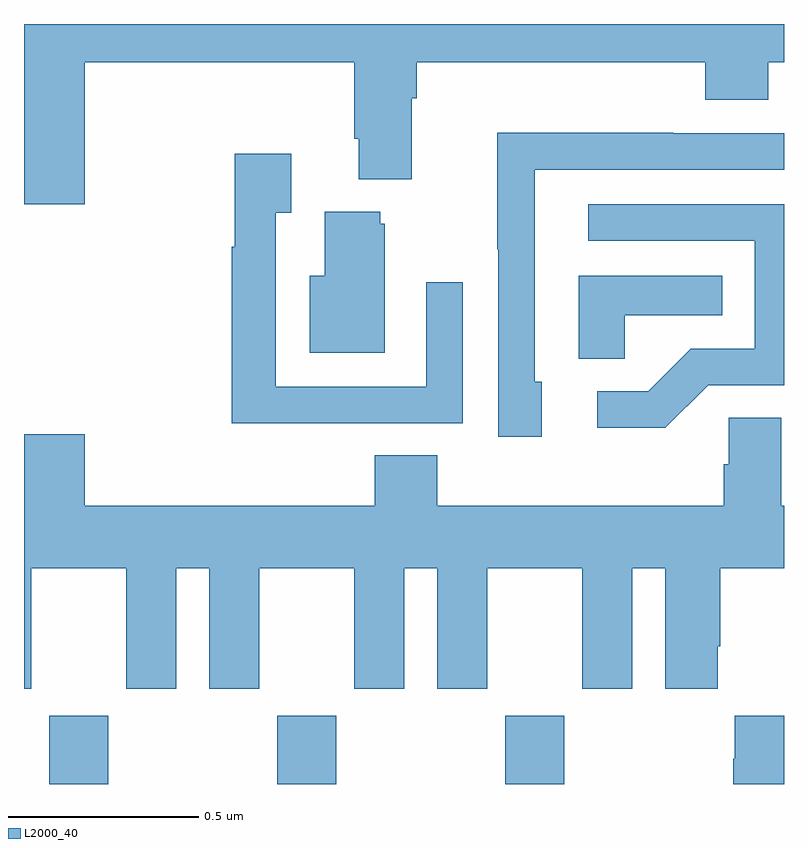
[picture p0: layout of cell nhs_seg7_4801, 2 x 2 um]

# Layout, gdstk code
import gdstk
lib = gdstk.Library(unit=1e-6, precision=1e-09)
def R(c, l, rs):  # rectangles x0, y0, x1, y1
    for r in rs: c.add(gdstk.rectangle(r[:2], r[2:], *l))
def A(c, l, x, y, w, h, nx, ny, dx, dy):  # array of equal rectangles
    R(c, l, [(x+i*dx, y+j*dy, x+i*dx+w, y+j*dy+h) for i in range(nx) for j in range(ny)])
def P(c, l, *ps):  # polygons
    for p in ps: c.add(gdstk.Polygon(p, *l))
L2000_40 = (2000, 40)

nhs_seg7_4801 = lib.new_cell('nhs_seg7_4801')
A(nhs_seg7_4801, L2000_40, 177.067, 1048, 0.155, 0.18, 3, 1, 0.6, 0)
P(nhs_seg7_4801, L2000_40, [(177.16,1049.9),(177.869,1049.9),(177.869,1049.698),(177.881,1049.698),(177.881,1049.591),(178.021,1049.591),(178.021,1049.804),(178.034,1049.804),(178.034,1049.9),(178.793,1049.9),(178.793,1049.801),(178.958,1049.801),(178.958,1049.9),(179,1049.9),(179,1050),(177,1050),(177,1049.526),(177.16,1049.526)],
  [(178.363,1049.058),(178.344,1049.058),(178.344,1049.616),(179,1049.616),(179,1049.712),(178.709,1049.712),(178.709,1049.714),(178.246,1049.714),(178.246,1049.407),(178.248,1049.407),(178.248,1048.914),(178.363,1048.914)],
  [(177.839,1048.95),(178.155,1048.95),(178.155,1049.32),(178.059,1049.32),(178.059,1049.046),(177.663,1049.046),(177.663,1049.503),(177.703,1049.503),(177.703,1049.659),(177.555,1049.659),(177.555,1049.414),(177.547,1049.414),(177.547,1048.949),(177.839,1048.949)],
  [(178.8,1049.049),(179,1049.049),(179,1049.526),(178.485,1049.526),(178.485,1049.43),(178.923,1049.43),(178.923,1049.145),(178.754,1049.145),(178.643,1049.034),(178.509,1049.034),(178.509,1048.937),(178.687,1048.937)],
  [(177.949,1049.475),(177.938,1049.475),(177.938,1049.506),(177.791,1049.506),(177.791,1049.338),(177.752,1049.338),(177.752,1049.135),(177.949,1049.135)],
  [(178.581,1049.234),(178.838,1049.234),(178.838,1049.338),(178.46,1049.338),(178.46,1049.119),(178.581,1049.119)],
  [(177.019,1048.568),(177.269,1048.568),(177.269,1048.251),(177.4,1048.251),(177.4,1048.568),(177.488,1048.568),(177.488,1048.251),(177.619,1048.251),(177.619,1048.568),(177.869,1048.568),(177.869,1048.251),(178,1048.251),(178,1048.568),(178.088,1048.568),(178.088,1048.251),(178.219,1048.251),(178.219,1048.568),(178.469,1048.568),(178.469,1048.251),(178.6,1048.251),(178.6,1048.568),(178.688,1048.568),(178.688,1048.251),(178.825,1048.251),(178.825,1048.363),(178.832,1048.363),(178.832,1048.568),(179,1048.568),(179,1048.732),(178.993,1048.732),(178.993,1048.964),(178.854,1048.964),(178.854,1048.841),(178.841,1048.841),(178.841,1048.732),(178.088,1048.732),(178.088,1048.865),(177.923,1048.865),(177.923,1048.732),(177.16,1048.732),(177.16,1048.921),(177,1048.921),(177,1048.251),(177.019,1048.251)],
  [(179,1048.18),(178.871,1048.18),(178.871,1048.067),(178.867,1048.067),(178.867,1048),(179,1048)])

lib.write_gds('nhs_seg7_4801.gds')
